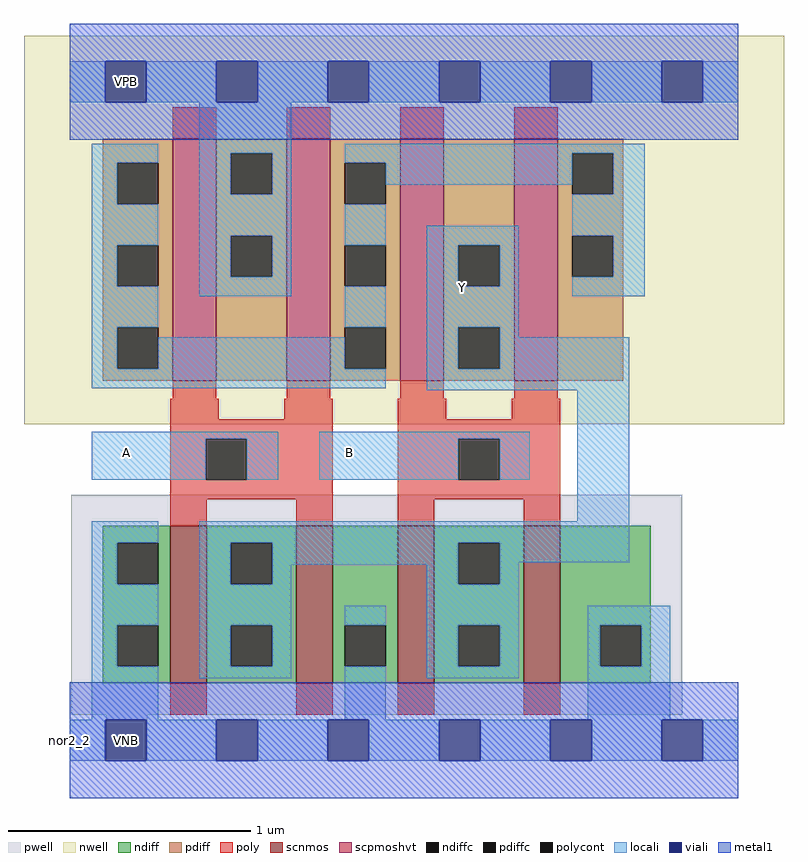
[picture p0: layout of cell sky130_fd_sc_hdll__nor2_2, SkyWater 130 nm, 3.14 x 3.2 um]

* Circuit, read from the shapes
.subckt sky130_fd_sc_hdll__nor2_2 A B VGND VNB VPB VPWR Y
XM1 Y A VGND VNB sky130_fd_pr__nfet_01v8 w=0.65 l=0.15 m=2
XM2 Y B VGND VNB sky130_fd_pr__nfet_01v8 w=0.65 l=0.15 m=2
XM3 VPWR A n1 VPB sky130_fd_pr__pfet_01v8_hvt w=1 l=0.18 m=2
XM4 Y B n1 VPB sky130_fd_pr__pfet_01v8_hvt w=1 l=0.18 m=2
.ends

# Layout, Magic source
magic
tech sky130A
magscale 1 2
<< nwell >>
rect -38 261 590 582
<< pwell >>
rect 1 21 506 203
rect 30 -17 64 21
<< scnmos >>
rect 83 47 113 177
rect 187 47 217 177
rect 271 47 301 177
rect 375 47 405 177
<< scpmoshvt >>
rect 85 297 121 497
rect 179 297 215 497
rect 273 297 309 497
rect 367 297 403 497
<< ndiff >>
rect 27 163 83 177
rect 27 129 39 163
rect 73 129 83 163
rect 27 95 83 129
rect 27 61 39 95
rect 73 61 83 95
rect 27 47 83 61
rect 113 163 187 177
rect 113 129 133 163
rect 167 129 187 163
rect 113 95 187 129
rect 113 61 133 95
rect 167 61 187 95
rect 113 47 187 61
rect 217 95 271 177
rect 217 61 227 95
rect 261 61 271 95
rect 217 47 271 61
rect 301 163 375 177
rect 301 129 321 163
rect 355 129 375 163
rect 301 95 375 129
rect 301 61 321 95
rect 355 61 375 95
rect 301 47 375 61
rect 405 95 480 177
rect 405 61 438 95
rect 472 61 480 95
rect 405 47 480 61
<< pdiff >>
rect 27 477 85 497
rect 27 443 39 477
rect 73 443 85 477
rect 27 409 85 443
rect 27 375 39 409
rect 73 375 85 409
rect 27 341 85 375
rect 27 307 39 341
rect 73 307 85 341
rect 27 297 85 307
rect 121 485 179 497
rect 121 451 133 485
rect 167 451 179 485
rect 121 417 179 451
rect 121 383 133 417
rect 167 383 179 417
rect 121 297 179 383
rect 215 477 273 497
rect 215 443 227 477
rect 261 443 273 477
rect 215 409 273 443
rect 215 375 227 409
rect 261 375 273 409
rect 215 341 273 375
rect 215 307 227 341
rect 261 307 273 341
rect 215 297 273 307
rect 309 409 367 497
rect 309 375 321 409
rect 355 375 367 409
rect 309 341 367 375
rect 309 307 321 341
rect 355 307 367 341
rect 309 297 367 307
rect 403 485 457 497
rect 403 451 415 485
rect 449 451 457 485
rect 403 417 457 451
rect 403 383 415 417
rect 449 383 457 417
rect 403 297 457 383
<< ndiffc >>
rect 39 129 73 163
rect 39 61 73 95
rect 133 129 167 163
rect 133 61 167 95
rect 227 61 261 95
rect 321 129 355 163
rect 321 61 355 95
rect 438 61 472 95
<< pdiffc >>
rect 39 443 73 477
rect 39 375 73 409
rect 39 307 73 341
rect 133 451 167 485
rect 133 383 167 417
rect 227 443 261 477
rect 227 375 261 409
rect 227 307 261 341
rect 321 375 355 409
rect 321 307 355 341
rect 415 451 449 485
rect 415 383 449 417
<< poly >>
rect 85 497 121 523
rect 179 497 215 523
rect 273 497 309 523
rect 367 497 403 523
rect 85 282 121 297
rect 179 282 215 297
rect 273 282 309 297
rect 367 282 403 297
rect 83 265 123 282
rect 177 265 217 282
rect 83 249 217 265
rect 83 215 112 249
rect 146 215 217 249
rect 83 199 217 215
rect 83 177 113 199
rect 187 177 217 199
rect 271 265 311 282
rect 365 265 405 282
rect 271 249 405 265
rect 271 215 321 249
rect 355 215 405 249
rect 271 199 405 215
rect 271 177 301 199
rect 375 177 405 199
rect 83 21 113 47
rect 187 21 217 47
rect 271 21 301 47
rect 375 21 405 47
<< polycont >>
rect 112 215 146 249
rect 321 215 355 249
<< locali >>
rect 0 527 29 561
rect 63 527 121 561
rect 155 527 213 561
rect 247 527 305 561
rect 339 527 397 561
rect 431 527 489 561
rect 523 527 552 561
rect 18 477 73 493
rect 18 443 39 477
rect 18 409 73 443
rect 18 375 39 409
rect 18 341 73 375
rect 107 485 183 527
rect 107 451 133 485
rect 167 451 183 485
rect 107 417 183 451
rect 107 383 133 417
rect 167 383 183 417
rect 107 367 183 383
rect 227 485 475 493
rect 227 477 415 485
rect 261 459 415 477
rect 227 409 261 443
rect 449 451 475 485
rect 18 307 39 341
rect 227 341 261 375
rect 73 307 227 333
rect 18 291 261 307
rect 295 409 371 425
rect 295 375 321 409
rect 355 375 371 409
rect 295 341 371 375
rect 415 417 475 451
rect 449 383 475 417
rect 415 367 475 383
rect 295 307 321 341
rect 355 333 371 341
rect 355 307 462 333
rect 295 289 462 307
rect 18 249 172 255
rect 18 215 112 249
rect 146 215 172 249
rect 206 249 380 255
rect 206 215 321 249
rect 355 215 380 249
rect 419 181 462 289
rect 18 163 73 181
rect 18 129 39 163
rect 18 95 73 129
rect 18 61 39 95
rect 18 17 73 61
rect 107 163 462 181
rect 107 129 133 163
rect 167 145 321 163
rect 167 129 183 145
rect 107 95 183 129
rect 295 129 321 145
rect 355 147 462 163
rect 355 129 371 147
rect 107 61 133 95
rect 167 61 183 95
rect 107 51 183 61
rect 227 95 261 111
rect 227 17 261 61
rect 295 95 371 129
rect 295 61 321 95
rect 355 61 371 95
rect 295 51 371 61
rect 428 95 496 111
rect 428 61 438 95
rect 472 61 496 95
rect 428 17 496 61
rect 0 -17 29 17
rect 63 -17 121 17
rect 155 -17 213 17
rect 247 -17 305 17
rect 339 -17 397 17
rect 431 -17 489 17
rect 523 -17 552 17
<< viali >>
rect 29 527 63 561
rect 121 527 155 561
rect 213 527 247 561
rect 305 527 339 561
rect 397 527 431 561
rect 489 527 523 561
rect 29 -17 63 17
rect 121 -17 155 17
rect 213 -17 247 17
rect 305 -17 339 17
rect 397 -17 431 17
rect 489 -17 523 17
<< metal1 >>
rect 0 561 552 592
rect 0 527 29 561
rect 63 527 121 561
rect 155 527 213 561
rect 247 527 305 561
rect 339 527 397 561
rect 431 527 489 561
rect 523 527 552 561
rect 0 496 552 527
rect 0 17 552 48
rect 0 -17 29 17
rect 63 -17 121 17
rect 155 -17 213 17
rect 247 -17 305 17
rect 339 -17 397 17
rect 431 -17 489 17
rect 523 -17 552 17
rect 0 -48 552 -17
<< labels >>
flabel locali s 214 221 248 255 0 FreeSans 400 0 0 0 B
port 2 nsew signal input
flabel locali s 307 357 341 391 0 FreeSans 400 0 0 0 Y
port 7 nsew signal output
flabel locali s 30 221 64 255 0 FreeSans 400 0 0 0 A
port 1 nsew signal input
flabel nwell s 30 527 64 561 0 FreeSans 200 0 0 0 VPB
port 5 nsew power bidirectional
flabel pwell s 30 -17 64 17 0 FreeSans 200 0 0 0 VNB
port 4 nsew ground bidirectional
flabel metal1 s 30 -17 64 17 0 FreeSans 200 0 0 0 VGND
port 3 nsew ground bidirectional
flabel metal1 s 30 527 64 561 0 FreeSans 200 0 0 0 VPWR
port 6 nsew power bidirectional
rlabel comment s 0 0 0 0 4 nor2_2
<< properties >>
string LEFsite unithd
string LEFclass CORE
string FIXED_BBOX 0 0 552 544
string GDS_FILE $PDKPATH/libs.ref/sky130_fd_sc_hdll/gds/sky130_fd_sc_hdll.gds
string LEFsymmetry X Y R90
string GDS_END 2319970
string GDS_START 2314940
string LEFproperties maskLayoutSubType "abstract" prCellType "standard" originalViewName "layout"
<< end >>
